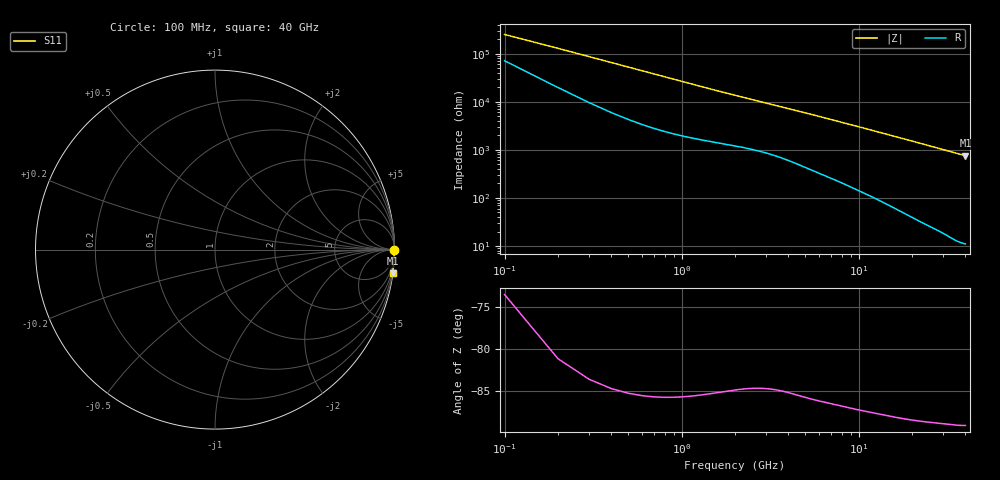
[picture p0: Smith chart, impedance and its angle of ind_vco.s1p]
#  Hz  S  RI  R  50
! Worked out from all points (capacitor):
!   400 points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, 100 MHz to 40 GHz, reference 50 ohm
!   read as one part to ground: C = 6.13 fF near 300 MHz
!   lowest |Z| = 754 ohm at 40 GHz (marker M1)
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1e8  0.9999 -0.000383
3e8  0.9999 -0.00115
6e8  0.9998 -0.00229
1.1e9  0.9997 -0.00414
1.5e9  0.9995 -0.00558
2e9  0.9993 -0.0073
2.6e9  0.9991 -0.00929
3.3e9  0.9989 -0.0115
4e9  0.9988 -0.0138
5.1e9  0.9986 -0.0173
7.5e9  0.9982 -0.025
1.01e10  0.9979 -0.0334
1.28e10  0.9975 -0.0422
1.51e10  0.9971 -0.0496
1.78e10  0.9966 -0.0584
2.01e10  0.9961 -0.066
2.25e10  0.9956 -0.0738
2.37e10  0.9952 -0.0778
2.51e10  0.9948 -0.0824
2.73e10  0.9942 -0.0896
3.01e10  0.9933 -0.0988
3.26e10  0.9925 -0.1071
3.39e10  0.992 -0.1114
3.51e10  0.9915 -0.1154
3.62e10  0.9911 -0.1191
3.74e10  0.9906 -0.1231
3.89e10  0.9899 -0.128
4e10  0.9893 -0.1317
